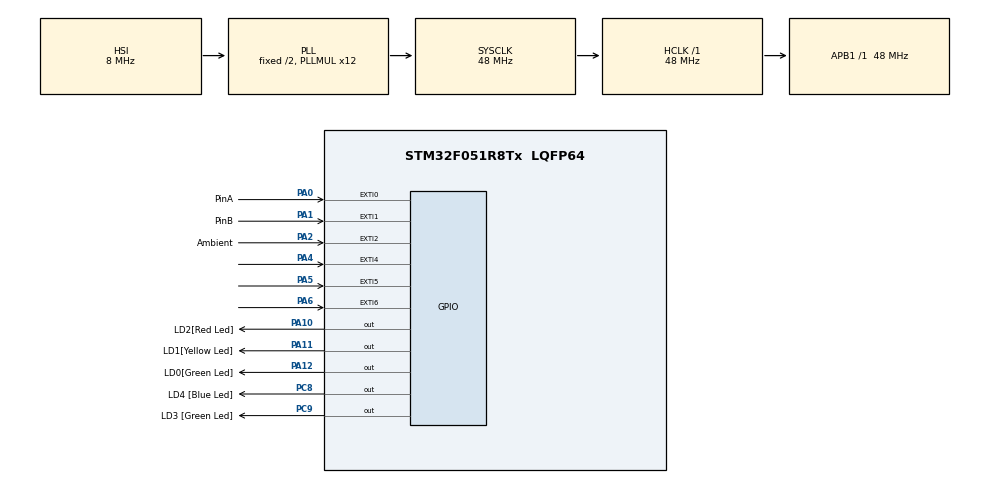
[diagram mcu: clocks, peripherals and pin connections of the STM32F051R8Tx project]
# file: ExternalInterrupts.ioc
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Mcu.Family=STM32F0
Mcu.Name=STM32F051R8Tx
Mcu.Package=LQFP64
NVIC.EXTI0_1_IRQn=true\:0\:0\:false\:false\:true\:true
NVIC.EXTI2_3_IRQn=true\:0\:0\:false\:false\:true\:true
NVIC.EXTI4_15_IRQn=true\:0\:0\:false\:false\:true\:true
PA0.GPIO_Label=PinA
PA0.GPIO_ModeDefaultEXTI=GPIO_MODE_IT_RISING_FALLING
PA0.GPIO_PuPd=GPIO_NOPULL
PA0.Signal=GPXTI0
PA1.GPIO_Label=PinB
PA1.GPIO_ModeDefaultEXTI=GPIO_MODE_IT_RISING_FALLING
PA1.GPIO_PuPd=GPIO_PULLUP
PA1.Signal=GPXTI1
PA10.GPIO_Label=LD2[Red Led]
PA10.Signal=GPIO_Output
PA11.GPIO_Label=LD1[Yellow Led]
PA11.Signal=GPIO_Output
PA12.GPIO_Label=LD0[Green Led]
PA12.Signal=GPIO_Output
PA13.GPIO_Label=SWDIO
PA13.Signal=SYS_SWDIO
PA14.GPIO_Label=SWCLK
PA14.Signal=SYS_SWCLK
PA2.GPIO_Label=Ambient
PA2.GPIO_ModeDefaultEXTI=GPIO_MODE_IT_RISING_FALLING
PA2.Signal=GPXTI2
PA4.Signal=GPXTI4
PA5.Signal=GPXTI5
PA6.Signal=GPXTI6
PC8.GPIO_Label=LD4 [Blue Led]
PC8.Signal=GPIO_Output
PC9.GPIO_Label=LD3 [Green Led]
PC9.Signal=GPIO_Output
ProjectManager.HeapSize=0x200
ProjectManager.StackSize=0x400
ProjectManager.TargetToolchain=MDK-ARM V5
RCC.AHBFreq_Value=48000000
RCC.APB1Freq_Value=48000000
RCC.APB1TimFreq_Value=48000000
RCC.HCLKFreq_Value=48000000
RCC.PLLMUL=RCC_PLL_MUL12
RCC.SYSCLKFreq_VALUE=48000000
RCC.SYSCLKSource=RCC_SYSCLKSOURCE_PLLCLK
board=STM32F0DISCOVERY

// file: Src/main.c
/**
  ******************************************************************************
  * File Name          : main.c
  * Description        : Main program body
  ******************************************************************************
  ** This notice applies to any and all portions of this file
  * that are not between comment pairs USER CODE BEGIN and
  * USER CODE END. Other portions of this file, whether
  * inserted by the user or by software development tools
  * are owned by their respective copyright owners.
  *
  * COPYRIGHT(c) 2018 STMicroelectronics
  *
  * Redistribution and use in source and binary forms, with or without modification,
  * are permitted provided that the following conditions are met:
  *   1. Redistributions of source code must retain the above copyright notice,
  *      this list of conditions and the following disclaimer.
  *   2. Redistributions in binary form must reproduce the above copyright notice,
  *      this list of conditions and the following disclaimer in the documentation
  *      and/or other materials provided with the distribution.
  *   3. Neither the name of STMicroelectronics nor the names of its contributors
  *      may be used to endorse or promote products derived from this software
  *      without specific prior written permission.
  *
  * THIS SOFTWARE IS PROVIDED BY THE COPYRIGHT HOLDERS AND CONTRIBUTORS "AS IS"
  * AND ANY EXPRESS OR IMPLIED WARRANTIES, INCLUDING, BUT NOT LIMITED TO, THE
  * IMPLIED WARRANTIES OF MERCHANTABILITY AND FITNESS FOR A PARTICULAR PURPOSE ARE
  * DISCLAIMED. IN NO EVENT SHALL THE COPYRIGHT HOLDER OR CONTRIBUTORS BE LIABLE
  * FOR ANY DIRECT, INDIRECT, INCIDENTAL, SPECIAL, EXEMPLARY, OR CONSEQUENTIAL
  * DAMAGES (INCLUDING, BUT NOT LIMITED TO, PROCUREMENT OF SUBSTITUTE GOODS OR
  * SERVICES; LOSS OF USE, DATA, OR PROFITS; OR BUSINESS INTERRUPTION) HOWEVER
  * CAUSED AND ON ANY THEORY OF LIABILITY, WHETHER IN CONTRACT, STRICT LIABILITY,
  * OR TORT (INCLUDING NEGLIGENCE OR OTHERWISE) ARISING IN ANY WAY OUT OF THE USE
  * OF THIS SOFTWARE, EVEN IF ADVISED OF THE POSSIBILITY OF SUCH DAMAGE.
  *
  ******************************************************************************
  */

#include "main.h"
#include "stm32f0xx_hal.h"

/* USER CODE BEGIN PV */
/* Private variables ---------------------------------------------------------*/
int blink_period = 250;
int ambientLight = 0;
/* USER CODE END PV */

void SystemClock_Config(void);
static void MX_GPIO_Init(void);

/* USER CODE BEGIN PFP */
/* Private function prototypes -----------------------------------------------*/

/* USER CODE END PFP */

int main(void)
{

  /* MCU Configuration----------------------------------------------------------*/

  /* Reset of all peripherals, Initializes the Flash interface and the Systick. */
  HAL_Init();

  /* Configure the system clock */
  SystemClock_Config();

  /* Initialize all configured peripherals */
  MX_GPIO_Init();

  /* Infinite loop */
  while (1)
  {

  /* USER CODE BEGIN 3 */
	HAL_GPIO_TogglePin(GPIOC,GPIO_PIN_8);
	HAL_Delay(blink_period);

	if(ambientLight ==  1 )
	{
		HAL_GPIO_TogglePin(GPIOA,GPIO_PIN_12);
	}else if(ambientLight == 2)
	{
		HAL_GPIO_TogglePin(GPIOA,GPIO_PIN_11);
	}
	else if(ambientLight == 3)
	{
		HAL_GPIO_TogglePin(GPIOA,GPIO_PIN_10);
	}

  }
  /* USER CODE END 3 */

}

/** System Clock Configuration
*/
void SystemClock_Config(void)
{

  RCC_OscInitTypeDef RCC_OscInitStruct;
  RCC_ClkInitTypeDef RCC_ClkInitStruct;

    /**Initializes the CPU, AHB and APB busses clocks
    */
  RCC_OscInitStruct.OscillatorType = RCC_OSCILLATORTYPE_HSI;
  RCC_OscInitStruct.HSIState = RCC_HSI_ON;
  RCC_OscInitStruct.HSICalibrationValue = 16;
  RCC_OscInitStruct.PLL.PLLState = RCC_PLL_ON;
  RCC_OscInitStruct.PLL.PLLSource = RCC_PLLSOURCE_HSI;
  RCC_OscInitStruct.PLL.PLLMUL = RCC_PLL_MUL12;
  RCC_OscInitStruct.PLL.PREDIV = RCC_PREDIV_DIV1;
  if (HAL_RCC_OscConfig(&RCC_OscInitStruct) != HAL_OK)
  {
    _Error_Handler(__FILE__, __LINE__);
  }

    /**Initializes the CPU, AHB and APB busses clocks
    */
  RCC_ClkInitStruct.ClockType = RCC_CLOCKTYPE_HCLK|RCC_CLOCKTYPE_SYSCLK
                              |RCC_CLOCKTYPE_PCLK1;
  RCC_ClkInitStruct.SYSCLKSource = RCC_SYSCLKSOURCE_PLLCLK;
  RCC_ClkInitStruct.AHBCLKDivider = RCC_SYSCLK_DIV1;
  RCC_ClkInitStruct.APB1CLKDivider = RCC_HCLK_DIV1;

  if (HAL_RCC_ClockConfig(&RCC_ClkInitStruct, FLASH_LATENCY_1) != HAL_OK)
  {
    _Error_Handler(__FILE__, __LINE__);
  }

    /**Configure the Systick interrupt time
    */
  HAL_SYSTICK_Config(HAL_RCC_GetHCLKFreq()/1000);

    /**Configure the Systick
    */
  HAL_SYSTICK_CLKSourceConfig(SYSTICK_CLKSOURCE_HCLK);

  /* SysTick_IRQn interrupt configuration */
  HAL_NVIC_SetPriority(SysTick_IRQn, 0, 0);
}

/** Configure pins as
        * Analog
        * Input
        * Output
        * EVENT_OUT
        * EXTI
*/
static void MX_GPIO_Init(void)
{

  GPIO_InitTypeDef GPIO_InitStruct;

  /* GPIO Ports Clock Enable */
  __HAL_RCC_GPIOA_CLK_ENABLE();
  __HAL_RCC_GPIOC_CLK_ENABLE();

  /*Configure GPIO pin Output Level */
  HAL_GPIO_WritePin(GPIOC, LD4_Pin|LD3_Pin, GPIO_PIN_RESET);

  /*Configure GPIO pin Output Level */
  HAL_GPIO_WritePin(GPIOA, LD2_Pin|LD1_Pin|LD0_Pin, GPIO_PIN_RESET);

  /*Configure GPIO pins : PinA_Pin Ambient_Pin */
  GPIO_InitStruct.Pin = PinA_Pin|Ambient_Pin;
  GPIO_InitStruct.Mode = GPIO_MODE_IT_RISING_FALLING;
  GPIO_InitStruct.Pull = GPIO_NOPULL;
  HAL_GPIO_Init(GPIOA, &GPIO_InitStruct);

  /*Configure GPIO pin : PinB_Pin */
  GPIO_InitStruct.Pin = PinB_Pin;
  GPIO_InitStruct.Mode = GPIO_MODE_IT_RISING_FALLING;
  GPIO_InitStruct.Pull = GPIO_PULLUP;
  HAL_GPIO_Init(PinB_GPIO_Port, &GPIO_InitStruct);

  /*Configure GPIO pins : PA4 PA5 PA6 */
  GPIO_InitStruct.Pin = GPIO_PIN_4|GPIO_PIN_5|GPIO_PIN_6;
  GPIO_InitStruct.Mode = GPIO_MODE_IT_RISING;
  GPIO_InitStruct.Pull = GPIO_NOPULL;
  HAL_GPIO_Init(GPIOA, &GPIO_InitStruct);

  /*Configure GPIO pins : LD4_Pin LD3_Pin */
  GPIO_InitStruct.Pin = LD4_Pin|LD3_Pin;
  GPIO_InitStruct.Mode = GPIO_MODE_OUTPUT_PP;
  GPIO_InitStruct.Pull = GPIO_NOPULL;
  GPIO_InitStruct.Speed = GPIO_SPEED_FREQ_LOW;
  HAL_GPIO_Init(GPIOC, &GPIO_InitStruct);

  /*Configure GPIO pins : LD2_Pin LD1_Pin LD0_Pin */
  GPIO_InitStruct.Pin = LD2_Pin|LD1_Pin|LD0_Pin;
  GPIO_InitStruct.Mode = GPIO_MODE_OUTPUT_PP;
  GPIO_InitStruct.Pull = GPIO_NOPULL;
  GPIO_InitStruct.Speed = GPIO_SPEED_FREQ_LOW;
  HAL_GPIO_Init(GPIOA, &GPIO_InitStruct);

  /* EXTI interrupt init*/
  HAL_NVIC_SetPriority(EXTI0_1_IRQn, 0, 0);
  HAL_NVIC_EnableIRQ(EXTI0_1_IRQn);

  HAL_NVIC_SetPriority(EXTI2_3_IRQn, 0, 0);
  HAL_NVIC_EnableIRQ(EXTI2_3_IRQn);

  HAL_NVIC_SetPriority(EXTI4_15_IRQn, 0, 0);
  HAL_NVIC_EnableIRQ(EXTI4_15_IRQn);

}

/* USER CODE BEGIN 4 */
void HAL_GPIO_EXTI_Callback(uint16_t GPIO_Pin)
{
  if(GPIO_Pin == GPIO_PIN_0)
  {
    if (blink_period == 1000)
    {
      blink_period = 250;
    }
    else
    {
      blink_period = 1000;
    }
  }

	if(GPIO_Pin == GPIO_PIN_4)
	{
		ambientLight = 1;
	}
	if(GPIO_Pin == GPIO_PIN_5)
	{
		ambientLight = 2;
	}
	if(GPIO_Pin == GPIO_PIN_6)
	{
		ambientLight = 3;
	}

}
/* USER CODE END 4 */

void _Error_Handler(char * file, int line)
{
  while(1)
  {
  }
}

/************************ (C) COPYRIGHT STMicroelectronics *****END OF FILE****/
